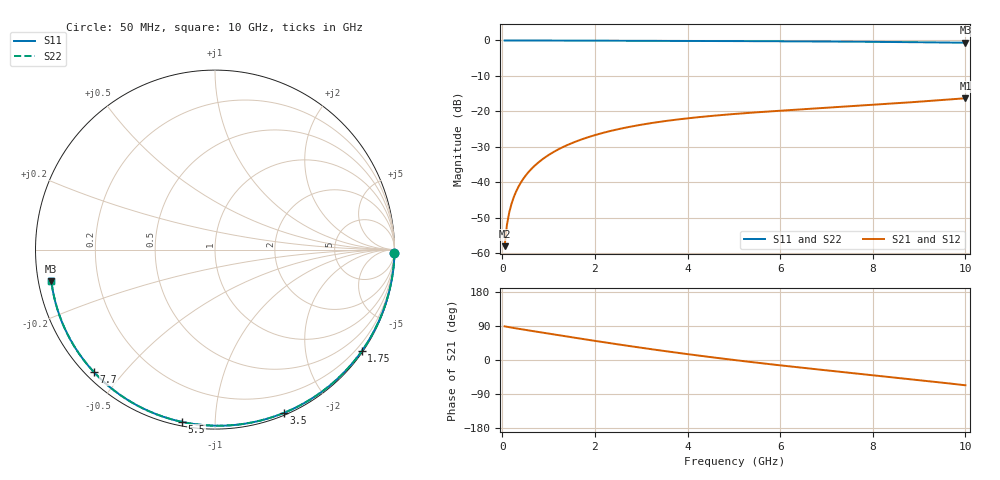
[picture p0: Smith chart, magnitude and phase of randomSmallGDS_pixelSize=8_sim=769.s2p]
! freq	dB(S11)	phase(S11)	dB(S12)	phase(S12)
!  dB(S21)	phase(S21)	dB(S22)	phase(S22)
!S-par simulation data
#  GHz  S  DB  R 50
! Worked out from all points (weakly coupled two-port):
!   200 points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, 50 MHz to 10 GHz, reference 50 ohm
!   highest |S21| = -16.31 dB at 10 GHz (marker M1); lowest = -58.1 dB at 50 MHz (marker M2)
!   lowest |S11| = -0.6 dB at 10 GHz (marker M3), VSWR 26.97, Z = 1.87 - j4.73 ohm
!   |S11| at or under -10 dB: nowhere
!   |S22| runs from -0.6 to 0.0 dB; largest |S21 - S12| = 0
!   S11 on the Smith chart (normalised r, x): 50 MHz: open; 1.75 GHz: 0.03, -3.20; 3.5 GHz: 0.02, -1.50; 5.5 GHz: 0.02, -0.83; 7.7 GHz: 0.02, -0.42; 10 GHz: 0.04, -0.09
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0.05  -0.00 -1.0  -58.06 88.8  -58.06 88.8  -0.00 -1.0
0.1  -0.00 -2.0  -52.05 87.7  -52.05 87.7  -0.00 -2.0
0.15  -0.00 -3.0  -48.55 86.6  -48.55 86.6  -0.00 -3.0
0.2  -0.00 -4.1  -46.07 85.5  -46.07 85.5  -0.00 -4.1
0.25  -0.00 -5.1  -44.15 84.4  -44.15 84.4  -0.00 -5.1
0.35  -0.01 -7.1  -41.26 82.4  -41.26 82.4  -0.01 -7.1
0.5  -0.01 -10.1  -38.21 79.4  -38.21 79.4  -0.01 -10.1
0.7  -0.02 -14.1  -35.34 75.5  -35.34 75.5  -0.02 -14.1
1  -0.03 -20.1  -32.33 69.7  -32.33 69.7  -0.03 -20.1
1.35  -0.04 -27.0  -29.84 62.9  -29.84 62.9  -0.04 -27.0
1.75  -0.05 -34.7  -27.76 55.2  -27.76 55.2  -0.05 -34.7
2.6  -0.08 -50.9  -24.77 39.4  -24.77 39.4  -0.08 -50.9
3.4  -0.11 -65.4  -22.97 25.4  -22.97 25.4  -0.11 -65.4
3.5  -0.11 -67.2  -22.78 23.7  -22.78 23.7  -0.11 -67.2
4.25  -0.14 -80.3  -21.63 11.5  -21.63 11.5  -0.14 -80.2
5.05  -0.18 -93.6  -20.71 -0.7  -20.71 -0.7  -0.18 -93.6
5.5  -0.20 -100.9  -20.27 -7.1  -20.27 -7.1  -0.20 -100.8
6.7  -0.27 -119.5  -19.26 -23.4  -19.26 -23.4  -0.27 -119.5
7.7  -0.36 -134.6  -18.44 -36.2  -18.44 -36.2  -0.36 -134.6
8.35  -0.42 -144.3  -17.88 -44.5  -17.88 -44.5  -0.42 -144.2
9.2  -0.53 -157.0  -17.09 -55.7  -17.09 -55.7  -0.53 -156.9
10  -0.64 -169.2  -16.31 -66.7  -16.31 -66.7  -0.64 -169.1
